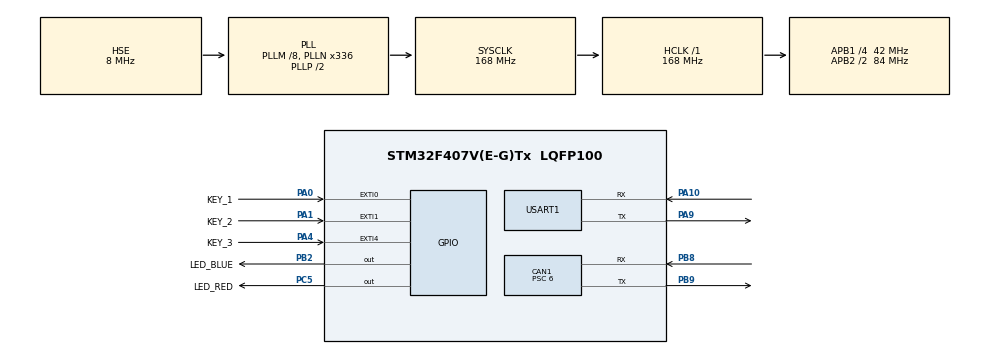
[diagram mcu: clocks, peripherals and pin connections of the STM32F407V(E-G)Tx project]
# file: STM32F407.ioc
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CAN1.ABOM=ENABLE
CAN1.BS1=CAN_BS1_4TQ
CAN1.BS2=CAN_BS2_2TQ
CAN1.CalculateBaudRate=1000000
CAN1.CalculateTimeBit=1000
CAN1.CalculateTimeQuantum=142.85714285714286
CAN1.Prescaler=6
Mcu.Family=STM32F4
Mcu.Name=STM32F407V(E-G)Tx
Mcu.Package=LQFP100
NVIC.CAN1_RX0_IRQn=true\:0\:0\:false\:false\:true\:true\:true\:true
NVIC.EXTI0_IRQn=true\:2\:0\:true\:false\:true\:true\:true\:true
NVIC.EXTI1_IRQn=true\:2\:0\:true\:false\:true\:true\:true\:true
NVIC.EXTI4_IRQn=true\:2\:0\:true\:false\:true\:true\:true\:true
NVIC.PriorityGroup=NVIC_PRIORITYGROUP_4
NVIC.TIM6_DAC_IRQn=true\:0\:0\:true\:false\:true\:true\:true\:true
PA0-WKUP.GPIO_Label=KEY_1
PA0-WKUP.GPIO_ModeDefaultEXTI=GPIO_MODE_IT_RISING
PA0-WKUP.GPIO_PuPd=GPIO_PULLDOWN
PA0-WKUP.Signal=GPXTI0
PA1.GPIO_Label=KEY_2
PA1.GPIO_ModeDefaultEXTI=GPIO_MODE_IT_FALLING
PA1.GPIO_PuPd=GPIO_PULLUP
PA1.Signal=GPXTI1
PA10.Mode=Asynchronous
PA10.Signal=USART1_RX
PA13.Mode=Serial_Wire
PA13.Signal=SYS_JTMS-SWDIO
PA14.Mode=Serial_Wire
PA14.Signal=SYS_JTCK-SWCLK
PA4.GPIO_Label=KEY_3
PA4.GPIO_ModeDefaultEXTI=GPIO_MODE_IT_FALLING
PA4.GPIO_PuPd=GPIO_PULLUP
PA4.Signal=GPXTI4
PA9.Mode=Asynchronous
PA9.Signal=USART1_TX
PB2.GPIO_Label=LED_BLUE
PB2.GPIO_PuPd=GPIO_PULLDOWN
PB2.Signal=GPIO_Output
PB8.Mode=CAN_Activate
PB8.Signal=CAN1_RX
PB9.Mode=CAN_Activate
PB9.Signal=CAN1_TX
PC5.GPIO_Label=LED_RED
PC5.GPIO_PuPd=GPIO_PULLDOWN
PC5.Signal=GPIO_Output
PH0-OSC_IN.Mode=HSE-External-Oscillator
PH0-OSC_IN.Signal=RCC_OSC_IN
PH1-OSC_OUT.Mode=HSE-External-Oscillator
PH1-OSC_OUT.Signal=RCC_OSC_OUT
ProjectManager.HeapSize=0x1000
ProjectManager.StackSize=0x1000
ProjectManager.TargetToolchain=MDK-ARM V5
RCC.48MHZClocksFreq_Value=84000000
RCC.AHBFreq_Value=168000000
RCC.APB1CLKDivider=RCC_HCLK_DIV4
RCC.APB1Freq_Value=42000000
RCC.APB1TimFreq_Value=84000000
RCC.APB2CLKDivider=RCC_HCLK_DIV2
RCC.APB2Freq_Value=84000000
RCC.APB2TimFreq_Value=168000000
RCC.CortexFreq_Value=168000000
RCC.HCLKFreq_Value=168000000
RCC.HSE_VALUE=8000000
RCC.HSI_VALUE=16000000
RCC.LSE_VALUE=32768
RCC.PLLM=8
RCC.PLLN=336
RCC.PLLSourceVirtual=RCC_PLLSOURCE_HSE
RCC.SYSCLKFreq_VALUE=168000000
RCC.SYSCLKSource=RCC_SYSCLKSOURCE_PLLCLK
RCC.VCOOutputFreq_Value=336000000
TIM6.AutoReloadPreload=TIM_AUTORELOAD_PRELOAD_ENABLE
TIM6.Period=1000-1
TIM6.Prescaler=84-1
USART1.VirtualMode=VM_ASYNC
VP_TIM6_VS_ClockSourceINT.Mode=Enable_Timer
board=custom

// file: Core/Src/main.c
/* USER CODE BEGIN Header */
/***********************************************************************************************************************************
 ** 【代码编写】  魔女开发板团队
 ** 【淘    宝】  魔女开发板       https://demoboard.taobao.com
 ***********************************************************************************************************************************
 ** 【实验名称】  LVGL 移植测试
 **
 ** 【适用平台】  STM32F407 + keil5 + HAL库
 **
 ** 【移植说明】  1- 本示例，已移植完成LVGL
 **               2- 本示例，可作为LVGL的基础模板，在其上再进行其它功能的添加、Gui Guider的移植
 **
 ** 【LVGL重点】  新手使用LVGL时，就四项重点：
 **               1- LVGL的移植，管理内存和显存的修改;
 **               2- 控件的添加、对齐
 **               3- 添加事件
 **               4- 事件回调函数编写
 **               5- 屏幕切换
 **               6- Gui Guider的使用、移植
 **
 ** 【更新记录】  2024-04-08  完善font.h数组命名; 完善注释
 **
 ** 【备注说明】  版权归魔女科技所有，限于学习测试，切勿商用，谢谢！
 **               https://demoboard.taobao.com
 **
 *******************************************************************************/
/* USER CODE END Header */
#include "main.h"
#include "can.h"
#include "tim.h"
#include "usart.h"
#include "gpio.h"

/* USER CODE BEGIN Includes */
/* 所有用户代码，必须写在配对的BEGIN与END注释行之间，否则重新生成时会被删除 */
#include "bsp_UART.h"            // 串口驱动
#include "bsp_LCD_ILI9341.h"     // LCD驱动
#include "bsp_XPT2046.h"         // 触屏驱动
#include "bsp_W25Q128.h"         // 外部Flash, 存有触屏的校准数据

#include "lvgl.h"                // 它为整个LVGL提供了更完整的头文件引用
#include "lv_port_disp.h"        // LVGL的显示支持
#include "lv_port_indev.h"       // LVGL的触屏支持

#include "gui_guider.h"
#include "events_init.h"
lv_ui guider_ui;

#include "bsp_UART.h"            // 串口底层文件; 已重写好初始化、收发，调用函数即可使用串口
#include "bsp_CAN.h"             // CAN通信的自定义文件，包插：发送函数、筛选器配置、中断回调函数
#include "cybergear.h"

/* USER CODE END Includes */

void SystemClock_Config(void);

/* USER CODE BEGIN 0 */
/* 所有用户代码，必须写在配对的BEGIN与END注释行之间，否则重新生成时会被删除 */

/* USER CODE END 0 */

int main(void)
{

  /* MCU Configuration--------------------------------------------------------*/

  /* Reset of all peripherals, Initializes the Flash interface and the Systick. */
  HAL_Init();

  /* Configure the system clock */
  SystemClock_Config();

  /* Initialize all configured peripherals */
  MX_GPIO_Init();
  MX_TIM6_Init();
  MX_CAN1_Init();
  MX_USART1_UART_Init();
  /* USER CODE BEGIN 2 */
    /* 所有用户代码，必须写在配对的BEGIN与END注释行之间，否则重新生成时会被删除 */

    UART1_Init(115200);                                                           // 初始化UART1

    printf("\r\r\r=========== STM32F407 外设初始报告 ===========\r");             // 注意，printf函数，必须重定向后才能使用，否则程序会卡死; 本示例已重写fputc, 在main.c的底部附近
    printf("系统运行时钟：           %d MHz\r", SystemCoreClock / 1000000);       // 输出系统运行时钟的频率，以检查是否配置正常

    HAL_GPIO_WritePin(LED_RED_GPIO_Port, LED_RED_Pin, GPIO_PIN_RESET);              // LED控制引脚置高电平，红亮灭

    W25Q128_Init();                                                               // 外部Flash 初始化; 存有触屏的校准数据、裸机用汉字字模数据

    LCD_Init();                                                                   // LCD ILI9341 初始化
    LCD_SetDir(1);                                                                // 设置显示方向：0-竖屏、1-横屏

    XPT2046_Init(xLCD.width, xLCD.height, xLCD.dir);                              // 触摸检测 初始化

    lv_init();                                                                    // LVGL 初始化
    lv_port_disp_init();                                                          // LVGL 显示
    lv_port_indev_init();                                                         // LVGL 触屏

    HAL_TIM_Base_Start_IT(&htim6);                                                // 启动TIM6并使能中断;  每个周期结束后触发中断，硬件自动调用中断服务函数，继而调用回调函数HAL_TIM_PeriodElapsedCallback()，它已手动编写在main.c的下方

    //myLvglDemo();                                                                 // 调用自定义的函数，完成LVGL界面设计
		setup_ui(&guider_ui);
		events_init(&guider_ui);

		can_bsp_init();
		HAL_Delay(1000);

		init_cybergear(&mi_motor[1], 0x01, Motion_mode);//小米电机 运动模式
		HAL_Delay(500);
		stop_cybergear(&mi_motor[1], 0);
		HAL_Delay(500);
		set_zeropos_cybergear(&mi_motor[1]);
		HAL_Delay(500);
  /* USER CODE END 2 */

  /* Infinite loop */
    while (1)
    {

    /* USER CODE BEGIN 3 */
        /* 所有用户代码，必须写在配对的BEGIN与END注释行之间，否则重新生成时会被删除 */

        /** 1ms延时 **/
        HAL_Delay(1 - 1);                                                  // 延时函数，参数：ms; 注意：CubeMX生成的HAL_Delay(), 函数内部为避免无效操作，会对传入参数+1，因此，如果只需要几ms延时建议传入参数时-1，如果需要大几百ms的非精准延时，那参数不-1也影响不大

        /** UART1 是否接收到数据 **/
        if (UART1_GetRxNum())                                              // 如果接收字节数>0, 即为接收到新一帧数据
        {
            if (strstr((char *)UART1_GetRxData(), "XPT2046"))              // 判断是否收到"XPT2046", 调用触摸屏重新校准函数
            {
                XPT2046_ReCalibration();                                   // 进入触摸屏校准
            }
            UART1_ClearRx();                                               // 清0本次接收
        }

        /** 每5ms 检测一次LVGL任务 **/
        static uint8_t msLVGL = 0;                                         // 用于LVGL周期任务计时
        if (msLVGL++ >= 5)                                                 // 每5ms执行一次
        {
            lv_timer_handler();                                            // 调用LVGL的周期性任务函数，它的作用是检查所有已注册任务的时间戳，执行那些已到期的任务
            msLVGL = 0;                                                    // 计数清0
        }

        /** 每500ms闪烁一次蓝色LED **/
        static uint16_t msLED = 0;
        if (++msLED == 500)                                                // 每500ms执行一次
        {
            msLED = 0;                                                     // 计数清0
            HAL_GPIO_TogglePin(LED_BLUE_GPIO_Port, LED_BLUE_Pin);          // 规律地闪烁蓝色LED，方便外部观察系统是否正常运行
        }

    }
  /* USER CODE END 3 */
}

void SystemClock_Config(void)
{
  RCC_OscInitTypeDef RCC_OscInitStruct = {0};
  RCC_ClkInitTypeDef RCC_ClkInitStruct = {0};

  /** Configure the main internal regulator output voltage
  */
  __HAL_RCC_PWR_CLK_ENABLE();
  __HAL_PWR_VOLTAGESCALING_CONFIG(PWR_REGULATOR_VOLTAGE_SCALE1);

  /** Initializes the RCC Oscillators according to the specified parameters
  * in the RCC_OscInitTypeDef structure.
  */
  RCC_OscInitStruct.OscillatorType = RCC_OSCILLATORTYPE_HSE;
  RCC_OscInitStruct.HSEState = RCC_HSE_ON;
  RCC_OscInitStruct.PLL.PLLState = RCC_PLL_ON;
  RCC_OscInitStruct.PLL.PLLSource = RCC_PLLSOURCE_HSE;
  RCC_OscInitStruct.PLL.PLLM = 8;
  RCC_OscInitStruct.PLL.PLLN = 336;
  RCC_OscInitStruct.PLL.PLLP = RCC_PLLP_DIV2;
  RCC_OscInitStruct.PLL.PLLQ = 4;
  if (HAL_RCC_OscConfig(&RCC_OscInitStruct) != HAL_OK)
  {
    Error_Handler();
  }

  /** Initializes the CPU, AHB and APB buses clocks
  */
  RCC_ClkInitStruct.ClockType = RCC_CLOCKTYPE_HCLK|RCC_CLOCKTYPE_SYSCLK
                              |RCC_CLOCKTYPE_PCLK1|RCC_CLOCKTYPE_PCLK2;
  RCC_ClkInitStruct.SYSCLKSource = RCC_SYSCLKSOURCE_PLLCLK;
  RCC_ClkInitStruct.AHBCLKDivider = RCC_SYSCLK_DIV1;
  RCC_ClkInitStruct.APB1CLKDivider = RCC_HCLK_DIV4;
  RCC_ClkInitStruct.APB2CLKDivider = RCC_HCLK_DIV2;

  if (HAL_RCC_ClockConfig(&RCC_ClkInitStruct, FLASH_LATENCY_5) != HAL_OK)
  {
    Error_Handler();
  }
}

/* USER CODE BEGIN 4 */
/* 所有用户代码，必须写在配对的BEGIN与END注释行之间，否则重新生成时会被删除 */

/******************************************************************************
 * 函  数： HAL_GPIO_EXTI_Callback
 * 功  能： EXTI中断回调函数
 * 参  数： uint16_t  GPIO_Pin    引脚编号，参数范围：GPIO_Pin_0 ~ GPIO_Pin_15
 * 返回值： 无
 * 备  注： CubeMX生成的代码在思维和风格上，与使用标准库编写时有很大的区别：
 *          1：这个是回调函数，不是中断服务函数。完整的调用：EXTIx_IRQHandler() > HAL_GPIO_EXTI_IRQHandler(GPIO_PIN_x) > HAL_GPIO_EXTI_Callback(GPIO_PIN_x)
 *          2：必须使用这个函数名称，因为它在CubeMX生成时，已被写好了各种函数调用、函数弱定义(在stm32xx_hal_gpio.c的底部); 不建议在原弱定义中增添代码，而是重写本函数
 *          3：中断条件触发后，本函数被自动调用，无需进行人工调用; 也无需进行中断标志的清理，因为HAL_GPIO_EXTI_IRQHandler()函数中已有操作;
 *          4：生成的所有EXTI中断服务函数，都统一调用这个函数，以引脚编号作参数
 *          5：判断参数传进来的引脚编号，即可知道是哪个外部中断线产生的中断信号
******************************************************************************/
void HAL_GPIO_EXTI_Callback(uint16_t GPIO_Pin)
{
    if (GPIO_Pin == KEY_1_Pin)                                  // 按键1 产生的中断信号：KEY_1、PA0、闲时下拉、按下时高电平、上升沿触发
    {
        HAL_GPIO_TogglePin(LED_RED_GPIO_Port, LED_RED_Pin);     // 反转红色LED灯
        XPT2046_ReCalibration();                                // 触摸屏重新校准
    }

    if (GPIO_Pin == KEY_2_Pin)                                  // 按键2 产生的中断信号：KEY_2、PA1、闲时上拉、按下时低电平、下降沿触发
    {
        HAL_GPIO_TogglePin(LED_RED_GPIO_Port, LED_RED_Pin);     // 反转红色LED灯
        printf("KEY_2 按下\r");                                 // 通过串口助手输出提示
    }

    if (GPIO_Pin == KEY_3_Pin)                                  // 按键3 产生的中断信号：KEY_3、PA4、闲时上拉、按下低高电平、下降沿触发
    {
        HAL_GPIO_TogglePin(LED_RED_GPIO_Port, LED_RED_Pin);     // 反转红色LED灯
        printf("KEY_3 按下\r");                                 // 通过串口助手输出提示
    }
}

/******************************************************************************
 * 函  数： HAL_TIM_PeriodElapsedCallback
 * 功  能： 周期更新回调函数
 * 备  注： 本函数是TIM的CNT溢出中断回调函数。
 *          当TIM的计数器CNT，完成1周期计数时触发(向上计数：CNT==ARR、向下计数：CNT==0);
 *          上述中断触发后，硬件自动调用相关中断服务函数，继而调用本函数。
 *          所有TIM的周期更新中断，都是调用本函数，因此需要在函数内判断是哪一个TIM触发的中断;
 * 参  数： TIM_HandleTypeDef   *htim
 * 返回值： 无
******************************************************************************/
void HAL_TIM_PeriodElapsedCallback(TIM_HandleTypeDef *htim)
{
    if (htim->Instance == TIM6)                     // 判断是哪个TIM产生的中断
    {
        lv_tick_inc(1);                             // 给LVGL提供1ms的心跳时期

        static uint16_t ledTimes = 0;               // 用于LED闪烁计时
        if (ledTimes++ >= 500)                      // 每500ms执行一次LED闪烁
        {
            HAL_GPIO_TogglePin(GPIOC, GPIO_PIN_5);  // 反转LED引脚的电平，即闪烁LED
            ledTimes = 0;                           // 计时清0
        }
    }
}

/* USER CODE END 4 */

void Error_Handler(void)
{
    __disable_irq();
    while (1)
    {
    }
}
